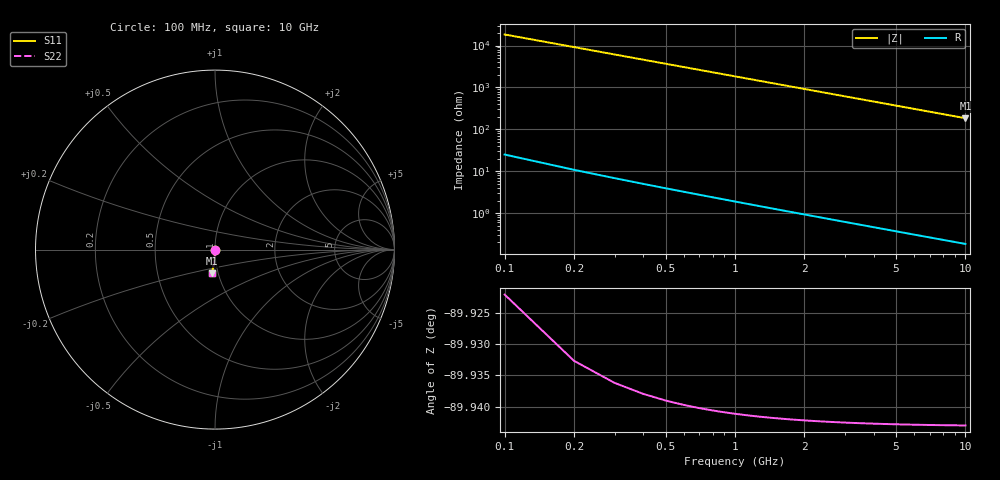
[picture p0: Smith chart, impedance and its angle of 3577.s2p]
# Hz S RI R 50.00
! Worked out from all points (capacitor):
!   100 points, 100 MHz to 10 GHz, reference 50 ohm
!   read as one part in shunt: C = 86.4 fF near 100 MHz
!   lowest |Z| = 185 ohm at 10 GHz (marker M1)
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1e8  7.91e-07 -0.00135  1 -0.00137  1 -0.00137  7.91e-07 -0.00135
2e8  -6.05e-06 -0.0027  1 -0.00273  1 -0.00273  -6.05e-06 -0.0027
3e8  -1.66e-05 -0.00405  1 -0.0041  1 -0.0041  -1.66e-05 -0.00405
4e8  -3.08e-05 -0.0054  1 -0.00546  1 -0.00546  -3.08e-05 -0.0054
5e8  -4.87e-05 -0.00675  0.9999 -0.00683  0.9999 -0.00683  -4.87e-05 -0.00675
6e8  -7.03e-05 -0.0081  0.9999 -0.00819  0.9999 -0.00819  -7.03e-05 -0.0081
7e8  -9.56e-05 -0.00945  0.9999 -0.00955  0.9999 -0.00955  -9.56e-05 -0.00945
8e8  -0.000125 -0.0108  0.9999 -0.0109  0.9999 -0.0109  -0.000125 -0.0108
9e8  -0.000157 -0.0122  0.9998 -0.0123  0.9998 -0.0123  -0.000157 -0.0122
1.1e9  -0.000234 -0.0148  0.9998 -0.015  0.9998 -0.015  -0.000234 -0.0148
1.4e9  -0.000376 -0.0189  0.9996 -0.0191  0.9996 -0.0191  -0.000376 -0.0189
1.8e9  -0.000617 -0.0243  0.9994 -0.0246  0.9994 -0.0246  -0.000617 -0.0243
2.1e9  -0.000836 -0.0283  0.9992 -0.0286  0.9992 -0.0286  -0.000836 -0.0283
2.5e9  -0.00118 -0.0337  0.9988 -0.0341  0.9988 -0.0341  -0.00118 -0.0337
2.9e9  -0.00158 -0.0391  0.9984 -0.0395  0.9984 -0.0395  -0.00158 -0.0391
3.4e9  -0.00216 -0.0458  0.9978 -0.0463  0.9978 -0.0463  -0.00216 -0.0458
4.2e9  -0.00329 -0.0565  0.9967 -0.0571  0.9967 -0.0571  -0.00329 -0.0565
5.1e9  -0.00482 -0.0684  0.9952 -0.0692  0.9952 -0.0692  -0.00482 -0.0684
5.9e9  -0.00643 -0.079  0.9936 -0.0799  0.9936 -0.0799  -0.00643 -0.079
6.7e9  -0.00826 -0.0896  0.9917 -0.0906  0.9917 -0.0906  -0.00826 -0.0896
8.4e9  -0.0129 -0.1117  0.9871 -0.1129  0.9871 -0.1129  -0.0129 -0.1117
1e10  -0.0181 -0.1322  0.9819 -0.1337  0.9819 -0.1337  -0.0181 -0.1322
